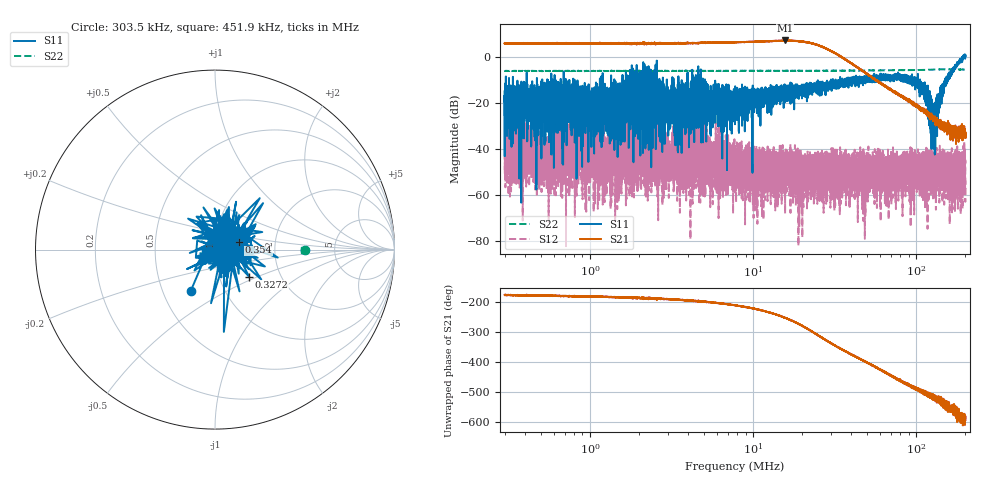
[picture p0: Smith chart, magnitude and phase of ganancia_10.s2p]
# Hz S DB R 50
! CMT, M5065, 19127446, 24.2.4/2
! Date: 11/1/2024 3:11:57 PM
! Data: Format (Calibration Info)
! Freq	S11:dB/Ang(F2)	S21:dB/Ang(F2)	S12:dB/Ang(F2)	S22:dB/Ang(F2)
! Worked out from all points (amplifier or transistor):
!   9000 points, 300 kHz to 200 MHz, reference 50 ohm
!   highest |S21| = 7.2 dB at 15.67 MHz (marker M1)
!   |S21| within 3 dB of that: start of sweep to 26.81 MHz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
!   unconditionally stable (mu >= 1): start of sweep to 191.1 MHz; 194.412 MHz to 194.7567 MHz; 196.8133 MHz to 197.1637 MHz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
!   at 886.8 kHz: K = 16.23, MAG = 7.2 dB, |S12| = -38.6 dB
!   at 7.749 MHz: K = 21.19, MAG = 7.6 dB, |S12| = -41.4 dB
!   at 200 MHz: K = -1539.69, MSG = 9.2 dB, |S12| = -53.5 dB
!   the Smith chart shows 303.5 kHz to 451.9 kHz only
!   S11 on the Smith chart (normalised r, x): 303.5 kHz: 0.69, -0.35; 327.2 kHz: 1.39, -0.44; 354 kHz: 1.31, +0.11; 451.9 kHz: 1.02, +0.15
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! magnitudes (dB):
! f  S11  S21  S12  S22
! 300 kHz  -19.2  6.0  -41.3  -6.0
! 303.5 kHz  -11.4  6.2  -56.5  -6.0
! 327.2 kHz  -12.3  5.9  -42.8  -6.0
! 354 kHz  -17.0  6.0  -55.0  -6.1
! 451.9 kHz  -22.4  6.0  -41.1  -6.1
! 691.6 kHz  -36.9  6.0  -45.2  -6.0
! 745.6 kHz  -14.1  5.8  -45.0  -6.0
! 886.8 kHz  -26.4  5.9  -38.6  -6.1
! 1.228 MHz  -23.4  5.9  -63.0  -6.1
! 2.052 MHz  -22.7  5.9  -49.1  -6.0
! 2.621 MHz  -18.5  5.9  -46.0  -6.0
! 4.54 MHz  -24.6  6.1  -49.0  -6.0
! 7.749 MHz  -26.2  6.4  -41.4  -6.0
! 15.67 MHz  -12.2  7.2  -49.3  -6.0
! 22.91 MHz  -13.1  6.0  -50.9  -6.0
! 67.71 MHz  -8.5  -13.6  -70.5  -5.7
! 105.7 MHz  -12.8  -22.8  -54.4  -5.6
! 114.8 MHz  -17.5  -23.6  -53.8  -5.6
! 127.8 MHz  -26.9  -27.3  -47.0  -5.4
! 152.9 MHz  -10.3  -30.5  -55.9  -5.3
! 193.5 MHz  -0.6  -34.6  -50.2  -5.4
! 200 MHz  0.7  -35.0  -53.5  -5.4
